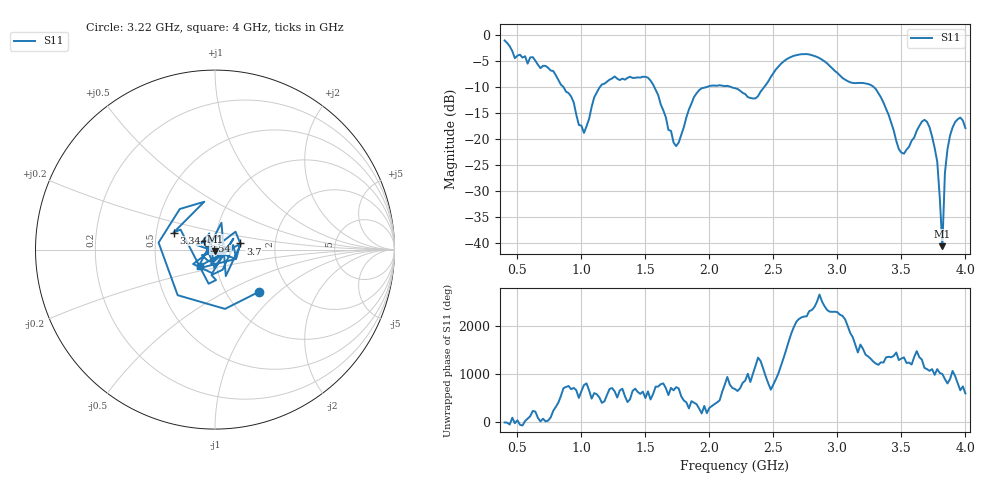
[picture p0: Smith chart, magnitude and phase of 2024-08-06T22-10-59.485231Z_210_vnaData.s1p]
!Created with skrf (http://scikit-rf.org).
# Hz S RI R 50.0
!freq ReS11 ImS11
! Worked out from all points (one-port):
!   181 points, 400 MHz to 4 GHz, reference 50 ohm
!   lowest |S11| = -40.7 dB at 3.82 GHz (marker M1), VSWR 1.02, Z = 50 - j0.925 ohm
!   |S11| at or under -10 dB: 856.7 MHz to 1.147 GHz (290.4 MHz wide, 29 % of centre); 1.568 GHz to 1.989 GHz (421 MHz wide, 23.7 % of centre); 3.281 GHz to end of sweep (the widest 3 of 4)
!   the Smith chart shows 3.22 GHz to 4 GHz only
!   S11 on the Smith chart (normalised r, x): 3.22 GHz: 1.41, -0.75; 3.34 GHz: 0.62, +0.12; 3.54 GHz: 0.88, +0.08; 3.7 GHz: 1.32, +0.09; 4 GHz: 0.83, -0.16
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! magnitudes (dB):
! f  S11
! 400 MHz  -1.1
! 480 MHz  -4.5
! 620 MHz  -4.3
! 860 MHz  -10.1
! 1.02 GHz  -18.9
! 1.14 GHz  -10.2
! 1.3 GHz  -8.8
! 1.52 GHz  -8.3
! 1.72 GHz  -20.8
! 1.76 GHz  -20.8
! 1.92 GHz  -10.7
! 2.2 GHz  -10.3
! 2.36 GHz  -12.3
! 2.66 GHz  -4.1
! 2.84 GHz  -4.3
! 3.1 GHz  -9.2
! 3.22 GHz  -9.4
! 3.34 GHz  -12.1
! 3.48 GHz  -22.0
! 3.54 GHz  -22.1
! 3.56 GHz  -21.6
! 3.7 GHz  -16.8
! 3.78 GHz  -24.4
! 3.82 GHz  -40.7
! 3.84 GHz  -26.6
! 3.88 GHz  -19.4
! 3.96 GHz  -15.9
! 4 GHz  -18.0
